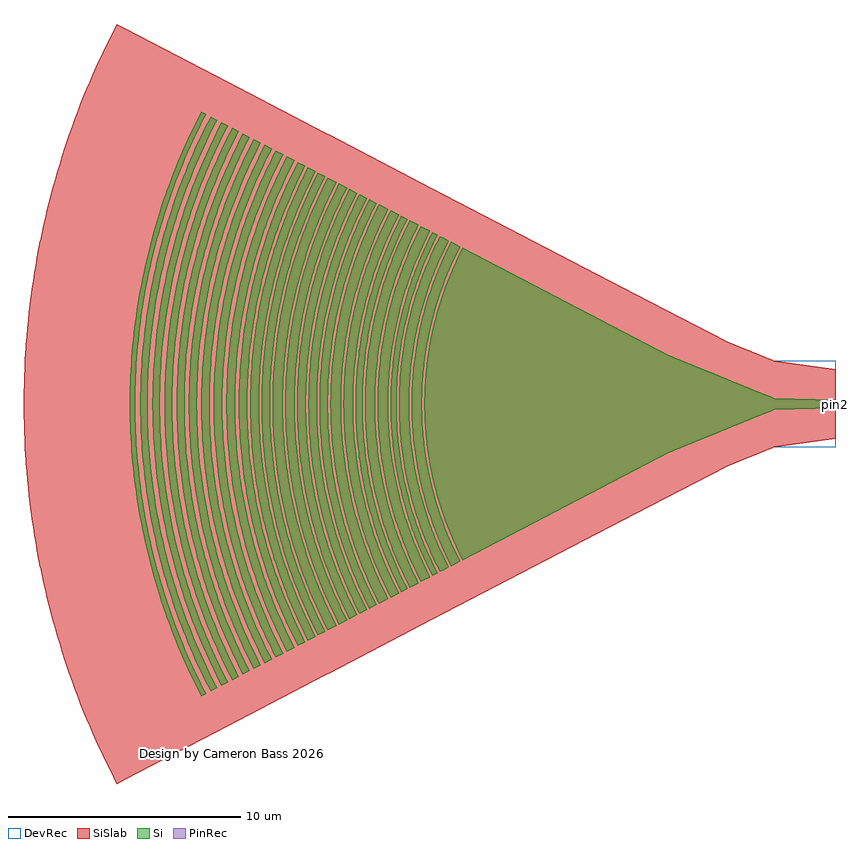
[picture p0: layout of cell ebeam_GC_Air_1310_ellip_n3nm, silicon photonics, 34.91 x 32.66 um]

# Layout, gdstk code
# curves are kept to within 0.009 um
import gdstk
lib = gdstk.Library(unit=1e-6, precision=1e-09)
def P(c, l, *ps):  # polygons
    for p in ps: c.add(gdstk.Polygon(p, *l))
Si = (1, 0)
PinRec = (1, 10)
SiSlab = (2, 0)
DevRec = (68, 0)

ebeam_gc_air_1310_ellip_ = lib.new_cell('ebeam_GC_Air_1310_ellip_n3nm')
P(ebeam_gc_air_1310_ellip_, Si, [(-16.047,-6.712),(-16.407,-5.968),(-16.781,-5.052),(-17.01,-4.383),(-17.275,-3.43),(-17.451,-2.6),(-17.578,-1.763),(-17.656,-0.918),(-17.684,-0.071),(-17.656,0.918),(-17.578,1.763),(-17.451,2.601),(-17.275,3.43),(-17.01,4.383),(-16.781,5.052),(-16.407,5.968),(-16.047,6.712),(-7.152,2.08),(-3.186,0.461),(-2.878,0.347),(-2.693,0.259),(-2.649,0.247),(0,0.175),(0,-0.175),(-2.678,-0.254),(-2.847,-0.334),(-3.201,-0.467),(-7.124,-2.067)],
  [(-16.539,-6.967),(-16.91,-6.198),(-17.247,-5.384),(-17.536,-4.552),(-17.776,-3.705),(-17.967,-2.845),(-18.107,-1.976),(-18.206,-0.954),(-18.236,-0.073),(-18.215,0.807),(-18.125,1.831),(-17.994,2.701),(-17.811,3.562),(-17.702,3.989),(-17.536,4.552),(-17.247,5.384),(-16.91,6.198),(-16.539,6.968),(-16.141,6.761),(-16.504,6.011),(-16.831,5.222),(-17.111,4.416),(-17.344,3.594),(-17.555,2.621),(-17.683,1.775),(-17.77,0.783),(-17.79,0.071),(-17.77,-0.783),(-17.683,-1.775),(-17.555,-2.62),(-17.378,-3.456),(-17.153,-4.28),(-16.881,-5.089),(-16.504,-6.011),(-16.141,-6.761)],
  [(-17.02,-7.218),(-17.404,-6.422),(-17.753,-5.579),(-18.052,-4.717),(-18.301,-3.839),(-18.498,-2.948),(-18.643,-2.048),(-18.736,-1.14),(-18.763,-0.684),(-18.777,-0.076),(-18.755,0.836),(-18.68,1.746),(-18.623,2.199),(-18.526,2.798),(-18.337,3.691),(-18.183,4.28),(-18.052,4.717),(-17.753,5.579),(-17.404,6.422),(-17.02,7.218),(-16.632,7.017),(-17.067,6.106),(-17.398,5.284),(-17.681,4.443),(-17.915,3.588),(-18.098,2.721),(-18.231,1.843),(-18.312,0.96),(-18.342,0.074),(-18.321,-0.812),(-18.231,-1.843),(-18.098,-2.721),(-17.915,-3.588),(-17.681,-4.443),(-17.398,-5.284),(-17.067,-6.106),(-16.632,-7.017)],
  [(-17.34,-7.385),(-17.733,-6.57),(-18.09,-5.708),(-18.396,-4.826),(-18.651,-3.928),(-18.853,-3.016),(-18.934,-2.557),(-19.021,-1.941),(-19.107,-1.011),(-19.138,-0.078),(-19.116,0.856),(-19.021,1.941),(-18.881,2.863),(-18.688,3.777),(-18.442,4.677),(-18.145,5.562),(-17.977,5.998),(-17.733,6.571),(-17.34,7.385),(-17.114,7.267),(-17.563,6.325),(-17.797,5.76),(-17.958,5.33),(-18.107,4.895),(-18.285,4.309),(-18.404,3.866),(-18.542,3.269),(-18.706,2.364),(-18.802,1.605),(-18.861,0.842),(-18.883,0.077),(-18.861,-0.842),(-18.802,-1.605),(-18.706,-2.364),(-18.542,-3.269),(-18.404,-3.865),(-18.285,-4.309),(-18.107,-4.895),(-17.958,-5.329),(-17.563,-6.325),(-17.114,-7.267)],
  [(-17.836,-7.643),(-18.307,-6.653),(-18.668,-5.757),(-18.976,-4.841),(-19.23,-3.909),(-19.43,-2.963),(-19.574,-2.009),(-19.663,-1.046),(-19.696,-0.08),(-19.672,0.886),(-19.593,1.849),(-19.458,2.805),(-19.337,3.438),(-19.23,3.909),(-18.976,4.841),(-18.668,5.757),(-18.494,6.208),(-18.242,6.801),(-17.836,7.643),(-17.434,7.434),(-17.894,6.471),(-18.189,5.746),(-18.498,4.858),(-18.754,3.955),(-18.986,2.883),(-19.126,1.953),(-19.19,1.33),(-19.222,0.861),(-19.244,0.078),(-19.222,-0.861),(-19.19,-1.33),(-19.126,-1.953),(-18.986,-2.883),(-18.791,-3.802),(-18.544,-4.709),(-18.244,-5.599),(-17.894,-6.471),(-17.434,-7.434)],
  [(-18.316,-7.893),(-18.736,-7.022),(-18.996,-6.41),(-19.175,-5.945),(-19.494,-4.999),(-19.756,-4.036),(-19.962,-3.06),(-20.112,-2.074),(-20.203,-1.081),(-20.237,-0.083),(-20.213,0.915),(-20.131,1.909),(-19.991,2.896),(-19.795,3.875),(-19.632,4.52),(-19.494,4.999),(-19.175,5.945),(-18.996,6.41),(-18.736,7.023),(-18.316,7.893),(-17.931,7.693),(-18.341,6.844),(-18.533,6.398),(-18.769,5.794),(-19.079,4.873),(-19.335,3.935),(-19.536,2.983),(-19.681,2.021),(-19.771,1.053),(-19.804,0.081),(-19.78,-0.891),(-19.7,-1.86),(-19.616,-2.503),(-19.536,-2.983),(-19.335,-3.934),(-19.079,-4.872),(-18.769,-5.794),(-18.533,-6.397),(-18.341,-6.844),(-17.931,-7.693)],
  [(-18.678,-8.081),(-19.108,-7.189),(-19.499,-6.245),(-19.834,-5.28),(-20.026,-4.627),(-20.153,-4.132),(-20.364,-3.133),(-20.517,-2.123),(-20.611,-1.106),(-20.645,-0.085),(-20.621,0.936),(-20.537,1.955),(-20.394,2.965),(-20.266,3.634),(-20.153,4.132),(-20.026,4.627),(-19.834,5.28),(-19.499,6.245),(-19.108,7.189),(-18.678,8.081),(-18.41,7.943),(-18.694,7.37),(-18.901,6.913),(-19.157,6.295),(-19.333,5.825),(-19.496,5.35),(-19.69,4.71),(-19.82,4.225),(-19.971,3.573),(-20.15,2.584),(-20.255,1.754),(-20.32,0.92),(-20.344,0.084),(-20.32,-0.92),(-20.255,-1.754),(-20.15,-2.584),(-20.005,-3.409),(-19.899,-3.899),(-19.735,-4.548),(-19.547,-5.19),(-19.389,-5.667),(-19.157,-6.294),(-18.968,-6.759),(-18.694,-7.37),(-18.41,-7.942)],
  [(-19.136,-8.32),(-19.579,-7.402),(-19.854,-6.756),(-20.043,-6.266),(-20.378,-5.269),(-20.655,-4.254),(-20.872,-3.225),(-21.03,-2.186),(-21.126,-1.139),(-21.162,-0.088),(-21.152,0.614),(-21.126,1.139),(-21.03,2.186),(-20.872,3.225),(-20.655,4.254),(-20.378,5.269),(-20.043,6.266),(-19.65,7.242),(-19.433,7.72),(-19.136,8.32),(-18.773,8.131),(-19.207,7.233),(-19.475,6.602),(-19.659,6.123),(-19.987,5.149),(-20.258,4.158),(-20.47,3.153),(-20.624,2.136),(-20.718,1.113),(-20.753,0.086),(-20.728,-0.942),(-20.644,-1.966),(-20.5,-2.984),(-20.406,-3.489),(-20.258,-4.158),(-19.987,-5.149),(-19.659,-6.123),(-19.276,-7.076),(-19.064,-7.544),(-18.773,-8.131)],
  [(-19.635,-8.58),(-20.09,-7.635),(-20.505,-6.633),(-20.86,-5.608),(-21.156,-4.564),(-21.39,-3.505),(-21.563,-2.435),(-21.673,-1.355),(-21.704,-0.814),(-21.722,-0.09),(-21.696,0.994),(-21.606,2.076),(-21.455,3.149),(-21.319,3.859),(-21.199,4.389),(-20.914,5.435),(-20.69,6.123),(-20.505,6.633),(-20.09,7.635),(-19.635,8.58),(-19.231,8.37),(-19.677,7.445),(-20.082,6.468),(-20.262,5.971),(-20.481,5.301),(-20.717,4.451),(-20.945,3.419),(-21.114,2.374),(-21.192,1.673),(-21.233,1.145),(-21.269,0.088),(-21.264,-0.441),(-21.233,-1.145),(-21.136,-2.198),(-20.978,-3.245),(-20.759,-4.28),(-20.481,-5.3),(-20.262,-5.971),(-20.082,-6.468),(-19.677,-7.445),(-19.231,-8.37)],
  [(-20.05,-8.796),(-20.518,-7.825),(-20.943,-6.798),(-21.308,-5.747),(-21.611,-4.677),(-21.851,-3.592),(-22.028,-2.495),(-22.141,-1.389),(-22.173,-0.834),(-22.191,-0.093),(-22.164,1.019),(-22.073,2.127),(-22.003,2.679),(-21.885,3.41),(-21.655,4.498),(-21.362,5.57),(-21.008,6.624),(-20.593,7.656),(-20.363,8.162),(-20.05,8.796),(-19.733,8.631),(-19.962,8.173),(-20.266,7.513),(-20.477,7.01),(-20.735,6.33),(-20.967,5.641),(-21.172,4.943),(-21.349,4.238),(-21.465,3.704),(-21.622,2.808),(-21.736,1.906),(-21.807,1),(-21.833,0.091),(-21.823,-0.636),(-21.754,-1.725),(-21.649,-2.628),(-21.465,-3.704),(-21.349,-4.237),(-21.172,-4.943),(-20.967,-5.64),(-20.735,-6.33),(-20.477,-7.009),(-20.266,-7.512),(-19.962,-8.173),(-19.733,-8.631)],
  [(-20.47,-9.015),(-20.951,-8.018),(-21.387,-6.965),(-21.76,-5.889),(-22.071,-4.793),(-22.202,-4.238),(-22.352,-3.494),(-22.522,-2.368),(-22.627,-1.234),(-22.666,-0.095),(-22.638,1.044),(-22.544,2.18),(-22.385,3.307),(-22.281,3.867),(-22.116,4.609),(-21.924,5.343),(-21.76,5.889),(-21.387,6.965),(-20.951,8.018),(-20.47,9.015),(-20.145,8.846),(-20.461,8.207),(-20.766,7.527),(-21.044,6.836),(-21.235,6.31),(-21.41,5.78),(-21.62,5.065),(-21.803,4.342),(-21.921,3.796),(-22.082,2.877),(-22.199,1.953),(-22.271,1.024),(-22.298,0.093),(-22.28,-0.838),(-22.217,-1.768),(-22.109,-2.693),(-21.921,-3.796),(-21.803,-4.342),(-21.62,-5.065),(-21.41,-5.78),(-21.235,-6.31),(-20.977,-7.009),(-20.766,-7.527),(-20.461,-8.207),(-20.145,-8.846)],
  [(-20.905,-9.241),(-21.399,-8.216),(-21.845,-7.138),(-22.228,-6.035),(-22.547,-4.912),(-22.681,-4.343),(-22.835,-3.58),(-23.01,-2.427),(-23.117,-1.264),(-23.156,-0.097),(-23.151,0.487),(-23.117,1.264),(-23.01,2.427),(-22.835,3.581),(-22.593,4.723),(-22.286,5.849),(-21.914,6.956),(-21.478,8.039),(-21.236,8.57),(-20.905,9.241),(-20.569,9.066),(-20.895,8.408),(-21.207,7.711),(-21.492,7.003),(-21.688,6.465),(-21.868,5.921),(-22.083,5.189),(-22.226,4.634),(-22.391,3.889),(-22.556,2.948),(-22.676,2.001),(-22.75,1.05),(-22.778,0.096),(-22.759,-0.859),(-22.695,-1.811),(-22.584,-2.759),(-22.391,-3.889),(-22.226,-4.634),(-22.083,-5.189),(-21.868,-5.921),(-21.688,-6.465),(-21.492,-7.003),(-21.207,-7.711),(-20.895,-8.408),(-20.569,-9.066)],
  [(-21.356,-9.476),(-21.696,-8.789),(-21.943,-8.243),(-22.175,-7.691),(-22.39,-7.133),(-22.772,-5.998),(-23.087,-4.843),(-23.335,-3.672),(-23.514,-2.489),(-23.624,-1.296),(-23.664,-0.1),(-23.659,0.499),(-23.624,1.297),(-23.514,2.489),(-23.335,3.672),(-23.087,4.843),(-22.772,5.998),(-22.39,7.133),(-22.175,7.692),(-21.943,8.244),(-21.696,8.789),(-21.356,9.476),(-20.999,9.29),(-21.497,8.26),(-21.946,7.176),(-22.331,6.067),(-22.499,5.505),(-22.697,4.748),(-22.94,3.6),(-23.116,2.439),(-23.223,1.271),(-23.252,0.685),(-23.263,0.098),(-23.244,-0.88),(-23.178,-1.856),(-23.065,-2.827),(-22.867,-3.984),(-22.697,-4.748),(-22.499,-5.505),(-22.331,-6.067),(-22.081,-6.809),(-21.803,-7.54),(-21.576,-8.081),(-21.333,-8.615),(-20.999,-9.29)],
  [(-21.844,-9.729),(-22.103,-9.211),(-22.445,-8.466),(-22.683,-7.899),(-22.904,-7.325),(-23.109,-6.746),(-23.296,-6.16),(-23.467,-5.569),(-23.62,-4.974),(-23.756,-4.374),(-23.874,-3.771),(-23.975,-3.165),(-24.058,-2.556),(-24.171,-1.331),(-24.201,-0.717),(-24.212,-0.102),(-24.183,1.127),(-24.082,2.353),(-23.975,3.165),(-23.874,3.771),(-23.756,4.374),(-23.62,4.974),(-23.467,5.57),(-23.296,6.16),(-23.109,6.746),(-22.904,7.326),(-22.683,7.899),(-22.445,8.466),(-22.191,9.026),(-21.844,9.73),(-21.45,9.525),(-21.96,8.469),(-22.42,7.358),(-22.815,6.221),(-23.143,5.064),(-23.282,4.478),(-23.403,3.889),(-23.595,2.7),(-23.717,1.503),(-23.752,0.902),(-23.771,0.1),(-23.742,-1.103),(-23.684,-1.903),(-23.62,-2.501),(-23.44,-3.692),(-23.191,-4.869),(-22.874,-6.03),(-22.491,-7.17),(-22.041,-8.286),(-21.793,-8.834),(-21.45,-9.525)],
  [(-22.258,-9.945),(-22.788,-8.844),(-23.037,-8.267),(-23.269,-7.683),(-23.483,-7.093),(-23.743,-6.296),(-24.074,-5.084),(-24.333,-3.854),(-24.436,-3.235),(-24.521,-2.612),(-24.588,-1.987),(-24.637,-1.361),(-24.679,-0.105),(-24.673,0.524),(-24.649,1.152),(-24.546,2.404),(-24.467,3.028),(-24.37,3.648),(-24.255,4.266),(-24.074,5.084),(-23.743,6.296),(-23.551,6.895),(-23.269,7.683),(-23.037,8.268),(-22.788,8.845),(-22.258,9.945),(-21.938,9.779),(-22.288,9.071),(-22.543,8.509),(-22.858,7.748),(-23.075,7.169),(-23.275,6.585),(-23.514,5.797),(-23.674,5.2),(-23.86,4.397),(-23.979,3.791),(-24.08,3.18),(-24.209,2.159),(-24.289,1.132),(-24.319,0.103),(-24.313,-0.515),(-24.289,-1.132),(-24.209,-2.159),(-24.08,-3.18),(-23.979,-3.791),(-23.86,-4.397),(-23.674,-5.2),(-23.514,-5.796),(-23.275,-6.584),(-23.075,-7.169),(-22.782,-7.939),(-22.543,-8.508),(-22.288,-9.071),(-21.938,-9.779)],
  [(-22.692,-10.171),(-22.965,-9.626),(-23.236,-9.043),(-23.491,-8.453),(-23.728,-7.856),(-23.947,-7.252),(-24.149,-6.642),(-24.391,-5.82),(-24.551,-5.198),(-24.693,-4.571),(-24.816,-3.941),(-24.922,-3.308),(-25.009,-2.671),(-25.077,-2.032),(-25.127,-1.391),(-25.158,-0.75),(-25.17,-0.107),(-25.164,0.536),(-25.139,1.178),(-25.096,1.819),(-25.034,2.458),(-24.953,3.096),(-24.854,3.73),(-24.693,4.571),(-24.551,5.198),(-24.391,5.82),(-24.212,6.438),(-24.016,7.05),(-23.803,7.656),(-23.572,8.255),(-23.323,8.848),(-22.965,9.626),(-22.692,10.171),(-22.355,9.996),(-22.714,9.271),(-22.975,8.696),(-23.297,7.918),(-23.518,7.327),(-23.787,6.529),(-23.967,5.924),(-24.131,5.314),(-24.321,4.494),(-24.513,3.459),(-24.656,2.416),(-24.747,1.367),(-24.778,0.737),(-24.79,0.105),(-24.77,-0.947),(-24.733,-1.577),(-24.678,-2.206),(-24.546,-3.25),(-24.321,-4.494),(-24.131,-5.314),(-23.967,-5.924),(-23.787,-6.529),(-23.518,-7.327),(-23.297,-7.918),(-22.975,-8.696),(-22.714,-9.271),(-22.355,-9.996)],
  [(-23.124,-10.396),(-23.406,-9.833),(-23.683,-9.238),(-23.943,-8.635),(-24.186,-8.025),(-24.41,-7.408),(-24.617,-6.785),(-24.805,-6.156),(-24.975,-5.522),(-25.126,-4.884),(-25.259,-4.241),(-25.373,-3.595),(-25.468,-2.946),(-25.544,-2.294),(-25.616,-1.421),(-25.648,-0.766),(-25.66,-0.109),(-25.654,0.547),(-25.629,1.203),(-25.584,1.858),(-25.521,2.511),(-25.438,3.163),(-25.337,3.811),(-25.217,4.456),(-25.027,5.31),(-24.863,5.946),(-24.681,6.576),(-24.481,7.202),(-24.263,7.821),(-24.026,8.433),(-23.772,9.038),(-23.501,9.636),(-23.124,10.396),(-22.803,10.23),(-23.172,9.483),(-23.525,8.698),(-23.769,8.1),(-23.995,7.495),(-24.27,6.679),(-24.455,6.06),(-24.674,5.227),(-24.817,4.597),(-25.014,3.538),(-25.107,2.899),(-25.182,2.257),(-25.265,1.184),(-25.297,0.108),(-25.276,-0.969),(-25.182,-2.257),(-25.014,-3.538),(-24.817,-4.597),(-24.674,-5.227),(-24.455,-6.06),(-24.27,-6.679),(-23.995,-7.495),(-23.769,-8.1),(-23.439,-8.895),(-23.172,-9.483),(-22.803,-10.229)],
  [(-23.593,-10.641),(-23.885,-10.058),(-24.169,-9.45),(-24.435,-8.833),(-24.683,-8.209),(-24.913,-7.578),(-25.124,-6.941),(-25.317,-6.297),(-25.491,-5.649),(-25.646,-4.995),(-25.781,-4.338),(-25.933,-3.456),(-26.024,-2.791),(-26.095,-2.123),(-26.147,-1.454),(-26.18,-0.783),(-26.193,-0.112),(-26.186,0.56),(-26.16,1.231),(-26.115,1.901),(-26.05,2.569),(-25.965,3.235),(-25.861,3.899),(-25.693,4.777),(-25.544,5.432),(-25.377,6.082),(-25.19,6.727),(-24.985,7.367),(-24.762,8),(-24.52,8.626),(-24.26,9.245),(-23.982,9.857),(-23.593,10.641),(-23.261,10.468),(-23.642,9.699),(-23.915,9.098),(-24.171,8.489),(-24.484,7.666),(-24.698,7.041),(-24.955,6.198),(-25.179,5.346),(-25.325,4.702),(-25.527,3.618),(-25.676,2.527),(-25.739,1.87),(-25.784,1.211),(-25.816,0.11),(-25.795,-0.991),(-25.757,-1.65),(-25.699,-2.308),(-25.561,-3.401),(-25.452,-4.053),(-25.325,-4.702),(-25.179,-5.346),(-24.955,-6.198),(-24.698,-7.04),(-24.484,-7.665),(-24.171,-8.489),(-23.915,-9.098),(-23.642,-9.699),(-23.261,-10.468)],
  [(-24.076,-10.892),(-24.378,-10.29),(-24.668,-9.667),(-24.941,-9.036),(-25.195,-8.398),(-25.43,-7.753),(-25.714,-6.882),(-25.905,-6.222),(-26.076,-5.557),(-26.228,-4.887),(-26.361,-4.213),(-26.474,-3.536),(-26.567,-2.855),(-26.64,-2.172),(-26.693,-1.487),(-26.727,-0.801),(-26.74,-0.114),(-26.733,0.573),(-26.707,1.259),(-26.66,1.944),(-26.567,2.856),(-26.474,3.536),(-26.361,4.213),(-26.228,4.887),(-26.076,5.557),(-25.905,6.222),(-25.714,6.882),(-25.43,7.753),(-25.195,8.398),(-24.941,9.037),(-24.668,9.667),(-24.378,10.29),(-24.076,10.892),(-23.749,10.722),(-24.142,9.929),(-24.422,9.313),(-24.768,8.48),(-25.005,7.847),(-25.293,6.992),(-25.487,6.344),(-25.717,5.472),(-25.866,4.813),(-26.073,3.704),(-26.226,2.587),(-26.324,1.464),(-26.357,0.789),(-26.37,0.113),(-26.348,-1.014),(-26.308,-1.689),(-26.25,-2.363),(-26.108,-3.481),(-25.997,-4.149),(-25.866,-4.813),(-25.717,-5.472),(-25.487,-6.344),(-25.293,-6.992),(-25.005,-7.847),(-24.768,-8.48),(-24.422,-9.313),(-24.045,-10.132),(-23.749,-10.722)],
  [(-24.546,-11.137),(-24.857,-10.518),(-25.154,-9.881),(-25.433,-9.236),(-25.692,-8.584),(-25.933,-7.924),(-26.154,-7.258),(-26.418,-6.36),(-26.594,-5.68),(-26.749,-4.995),(-26.885,-4.306),(-27,-3.614),(-27.095,-2.919),(-27.17,-2.22),(-27.225,-1.52),(-27.259,-0.819),(-27.272,-0.117),(-27.259,0.819),(-27.225,1.521),(-27.17,2.221),(-27.095,2.919),(-27,3.614),(-26.885,4.306),(-26.749,4.995),(-26.594,5.68),(-26.418,6.36),(-26.154,7.258),(-25.933,7.924),(-25.692,8.584),(-25.433,9.237),(-25.154,9.881),(-24.857,10.518),(-24.546,11.137),(-24.23,10.973),(-24.636,10.156),(-24.923,9.526),(-25.191,8.888),(-25.519,8.026),(-25.814,7.152),(-26.012,6.49),(-26.192,5.821),(-26.4,4.923),(-26.612,3.789),(-26.768,2.646),(-26.869,1.498),(-26.902,0.807),(-26.915,0.115),(-26.909,-0.576),(-26.882,-1.268),(-26.792,-2.417),(-26.712,-3.104),(-26.612,-3.789),(-26.4,-4.923),(-26.192,-5.821),(-26.012,-6.489),(-25.814,-7.152),(-25.519,-8.026),(-25.191,-8.888),(-24.923,-9.526),(-24.636,-10.156),(-24.23,-10.973)],
  [(-25.019,-11.383),(-25.338,-10.748),(-25.642,-10.098),(-25.926,-9.439),(-26.192,-8.772),(-26.437,-8.098),(-26.663,-7.417),(-26.87,-6.729),(-27.056,-6.036),(-27.221,-5.338),(-27.367,-4.635),(-27.491,-3.93),(-27.596,-3.22),(-27.679,-2.507),(-27.742,-1.792),(-27.793,-0.837),(-27.807,-0.12),(-27.8,0.598),(-27.772,1.315),(-27.723,2.031),(-27.654,2.745),(-27.563,3.457),(-27.411,4.4),(-27.272,5.105),(-27.113,5.804),(-26.934,6.499),(-26.734,7.189),(-26.515,7.872),(-26.192,8.772),(-25.926,9.439),(-25.642,10.098),(-25.338,10.748),(-25.019,11.383),(-24.71,11.223),(-25.127,10.384),(-25.42,9.74),(-25.694,9.088),(-26.03,8.207),(-26.259,7.538),(-26.534,6.636),(-26.718,5.952),(-26.931,5.034),(-27.147,3.874),(-27.307,2.706),(-27.376,2.002),(-27.424,1.296),(-27.458,0.118),(-27.451,-0.589),(-27.424,-1.296),(-27.332,-2.471),(-27.184,-3.641),(-27.068,-4.34),(-26.931,-5.034),(-26.718,-5.952),(-26.534,-6.635),(-26.259,-7.538),(-26.03,-8.207),(-25.694,-9.088),(-25.42,-9.74),(-25.025,-10.597),(-24.71,-11.222)],
  [(-25.481,-11.623),(-25.807,-10.974),(-26.117,-10.31),(-26.407,-9.637),(-26.678,-8.956),(-26.929,-8.268),(-27.16,-7.573),(-27.371,-6.871),(-27.561,-6.163),(-27.782,-5.212),(-27.923,-4.493),(-28.044,-3.771),(-28.143,-3.045),(-28.221,-2.317),(-28.278,-1.586),(-28.313,-0.855),(-28.328,-0.122),(-28.313,0.855),(-28.278,1.586),(-28.221,2.317),(-28.143,3.045),(-28.044,3.771),(-27.923,4.493),(-27.782,5.212),(-27.619,5.926),(-27.436,6.636),(-27.233,7.339),(-27.009,8.037),(-26.764,8.728),(-26.5,9.411),(-26.216,10.087),(-25.807,10.974),(-25.481,11.623),(-25.184,11.469),(-25.611,10.611),(-25.91,9.953),(-26.28,9.063),(-26.534,8.386),(-26.842,7.473),(-27.049,6.781),(-27.237,6.082),(-27.404,5.379),(-27.55,4.671),(-27.676,3.959),(-27.839,2.765),(-27.909,2.046),(-27.958,1.325),(-27.993,0.121),(-27.97,-1.084),(-27.928,-1.805),(-27.865,-2.525),(-27.781,-3.243),(-27.676,-3.958),(-27.455,-5.143),(-27.237,-6.082),(-27.049,-6.78),(-26.842,-7.473),(-26.534,-8.386),(-26.28,-9.063),(-25.91,-9.953),(-25.611,-10.611),(-25.184,-11.469)],
  [(-25.946,-11.865),(-26.279,-11.202),(-26.596,-10.524),(-26.892,-9.838),(-27.169,-9.143),(-27.425,-8.44),(-27.661,-7.73),(-27.876,-7.014),(-28.07,-6.291),(-28.295,-5.32),(-28.44,-4.586),(-28.562,-3.849),(-28.664,-3.108),(-28.744,-2.365),(-28.802,-1.619),(-28.838,-0.872),(-28.852,-0.125),(-28.838,0.872),(-28.802,1.619),(-28.744,2.365),(-28.664,3.109),(-28.562,3.85),(-28.44,4.586),(-28.295,5.32),(-28.129,6.049),(-27.943,6.774),(-27.735,7.492),(-27.506,8.204),(-27.257,8.909),(-26.987,9.607),(-26.596,10.524),(-26.279,11.202),(-25.946,11.866),(-25.654,11.714),(-25.984,11.059),(-26.396,10.165),(-26.682,9.484),(-27.033,8.564),(-27.272,7.866),(-27.56,6.925),(-27.751,6.212),(-27.974,5.253),(-28.199,4.043),(-28.366,2.824),(-28.438,2.089),(-28.488,1.353),(-28.524,0.123),(-28.516,-0.615),(-28.488,-1.353),(-28.392,-2.579),(-28.237,-3.799),(-28.116,-4.528),(-27.974,-5.253),(-27.81,-5.973),(-27.56,-6.924),(-27.272,-7.866),(-27.033,-8.564),(-26.682,-9.484),(-26.396,-10.164),(-25.984,-11.058),(-25.654,-11.714)],
  [(-26.405,-12.104),(-26.745,-11.427),(-27.068,-10.736),(-27.37,-10.035),(-27.652,-9.326),(-27.914,-8.609),(-28.154,-7.885),(-28.373,-7.154),(-28.571,-6.418),(-28.747,-5.675),(-28.902,-4.928),(-29.035,-4.178),(-29.145,-3.423),(-29.234,-2.665),(-29.301,-1.905),(-29.355,-0.89),(-29.37,-0.127),(-29.362,0.636),(-29.333,1.398),(-29.281,2.159),(-29.207,2.919),(-29.111,3.675),(-28.949,4.678),(-28.801,5.427),(-28.632,6.171),(-28.442,6.91),(-28.23,7.643),(-27.996,8.369),(-27.742,9.088),(-27.467,9.8),(-27.068,10.736),(-26.745,11.427),(-26.405,12.104),(-26.123,11.958),(-26.46,11.289),(-26.779,10.606),(-27.078,9.914),(-27.445,8.979),(-27.696,8.268),(-27.999,7.31),(-28.264,6.341),(-28.438,5.608),(-28.591,4.87),(-28.722,4.127),(-28.892,2.883),(-29.002,1.632),(-29.038,0.879),(-29.053,0.126),(-29.045,-0.628),(-29.016,-1.381),(-28.919,-2.633),(-28.831,-3.381),(-28.722,-4.127),(-28.591,-4.87),(-28.438,-5.608),(-28.264,-6.341),(-27.999,-7.31),(-27.696,-8.268),(-27.445,-8.978),(-27.078,-9.914),(-26.779,-10.606),(-26.46,-11.288),(-26.123,-11.958)],
  [(-26.875,-12.349),(-27.327,-11.438),(-27.649,-10.729),(-27.951,-10.01),(-28.232,-9.283),(-28.491,-8.549),(-28.729,-7.807),(-28.945,-7.058),(-29.14,-6.303),(-29.312,-5.543),(-29.462,-4.779),(-29.59,-4.011),(-29.696,-3.239),(-29.778,-2.464),(-29.839,-1.687),(-29.877,-0.909),(-29.892,-0.13),(-29.877,0.909),(-29.839,1.687),(-29.778,2.464),(-29.696,3.239),(-29.59,4.011),(-29.462,4.779),(-29.312,5.544),(-29.14,6.303),(-28.945,7.058),(-28.729,7.807),(-28.491,8.549),(-28.232,9.284),(-27.951,10.01),(-27.649,10.729),(-27.327,11.438),(-26.875,12.35),(-26.59,12.202),(-27.045,11.287),(-27.364,10.587),(-27.757,9.64),(-28.027,8.92),(-28.276,8.193),(-28.504,7.458),(-28.711,6.718),(-28.952,5.722),(-29.2,4.464),(-29.319,3.704),(-29.416,2.941),(-29.49,2.176),(-29.542,1.409),(-29.58,0.128),(-29.555,-1.153),(-29.51,-1.92),(-29.443,-2.686),(-29.282,-3.957),(-29.155,-4.717),(-29.007,-5.471),(-28.775,-6.469),(-28.575,-7.212),(-28.355,-7.949),(-28.027,-8.92),(-27.757,-9.64),(-27.364,-10.587),(-27.045,-11.287),(-26.59,-12.201)],
  [(-27.273,-12.557),(-27.626,-11.852),(-27.961,-11.135),(-28.274,-10.409),(-28.566,-9.673),(-28.823,-8.971),(-29.086,-8.179),(-29.313,-7.421),(-29.518,-6.657),(-29.7,-5.887),(-29.86,-5.112),(-29.998,-4.333),(-30.113,-3.551),(-30.23,-2.502),(-30.286,-1.794),(-30.33,-0.923),(-30.345,-0.132),(-30.337,0.659),(-30.307,1.45),(-30.253,2.24),(-30.146,3.289),(-30.039,4.073),(-29.909,4.853),(-29.756,5.629),(-29.581,6.401),(-29.384,7.167),(-29.164,7.927),(-28.923,8.681),(-28.659,9.427),(-28.374,10.165),(-27.961,11.136),(-27.626,11.853),(-27.273,12.557),(-27.069,12.451),(-27.412,11.767),(-27.744,11.056),(-28.154,10.092),(-28.437,9.359),(-28.699,8.619),(-28.939,7.871),(-29.225,6.863),(-29.413,6.101),(-29.678,4.819),(-29.807,4.043),(-29.913,3.265),(-29.997,2.484),(-30.058,1.701),(-30.096,0.916),(-30.111,0.131),(-30.086,-1.178),(-30.04,-1.962),(-29.971,-2.744),(-29.88,-3.524),(-29.766,-4.302),(-29.63,-5.076),(-29.471,-5.845),(-29.29,-6.61),(-29.087,-7.368),(-28.861,-8.121),(-28.527,-9.113),(-28.251,-9.849),(-27.85,-10.816),(-27.525,-11.531),(-27.069,-12.451)])
P(ebeam_gc_air_1310_ellip_, SiSlab, [(-30.904,-16.329),(-31.366,-15.41),(-31.801,-14.477),(-32.208,-13.533),(-32.588,-12.577),(-32.94,-11.61),(-33.264,-10.634),(-33.559,-9.648),(-33.825,-8.655),(-34.062,-7.654),(-34.27,-6.647),(-34.449,-5.634),(-34.598,-4.616),(-34.717,-3.594),(-34.807,-2.569),(-34.867,-1.543),(-34.9,-0.171),(-34.89,0.857),(-34.85,1.885),(-34.781,2.912),(-34.681,3.935),(-34.552,4.956),(-34.393,5.972),(-34.135,7.319),(-33.907,8.322),(-33.651,9.318),(-33.365,10.307),(-33.051,11.286),(-32.709,12.256),(-32.338,13.216),(-31.94,14.164),(-31.366,15.41),(-30.904,16.329),(-4.744,2.708),(-2.65,1.855),(0,1.5),(0,-1.5),(-2.65,-1.855),(-4.728,-2.7)])
P(ebeam_gc_air_1310_ellip_, DevRec, [(-30.904,-16.329),(-31.366,-15.41),(-31.801,-14.477),(-32.208,-13.533),(-32.588,-12.577),(-32.94,-11.61),(-33.264,-10.634),(-33.559,-9.648),(-33.825,-8.655),(-34.062,-7.654),(-34.27,-6.647),(-34.449,-5.634),(-34.598,-4.616),(-34.717,-3.594),(-34.807,-2.569),(-34.867,-1.543),(-34.9,-0.171),(-34.89,0.857),(-34.85,1.885),(-34.781,2.912),(-34.681,3.935),(-34.552,4.956),(-34.393,5.972),(-34.135,7.319),(-33.907,8.322),(-33.651,9.318),(-33.365,10.307),(-33.051,11.286),(-32.709,12.256),(-32.338,13.216),(-31.94,14.164),(-31.366,15.41),(-30.904,16.329),(-4.744,2.708),(-2.65,1.855),(0,1.855),(0,-1.855),(-2.65,-1.855),(-4.728,-2.7)])
ebeam_gc_air_1310_ellip_.add(gdstk.FlexPath([(-0.01,0),(0.01,0)], 0.35, ends="flush", simple_path=True, layer=1, datatype=10))  # PinRec
ebeam_gc_air_1310_ellip_.add(gdstk.Label('pin2', (0,0), layer=1, texttype=10))
ebeam_gc_air_1310_ellip_.add(gdstk.Label('Design by Cameron Bass 2026', (-25.94,-15.02), layer=10, texttype=0))

lib.write_gds('ebeam_GC_Air_1310_ellip_n3nm.gds')
